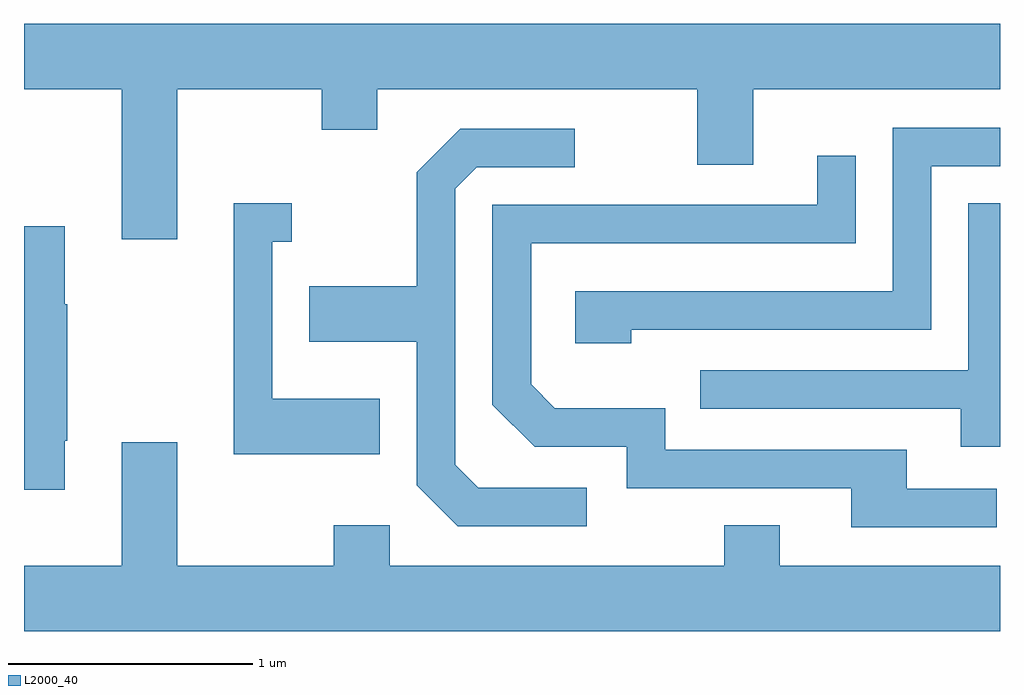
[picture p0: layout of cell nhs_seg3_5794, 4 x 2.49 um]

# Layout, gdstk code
import gdstk
lib = gdstk.Library(unit=1e-6, precision=1e-09)
def P(c, l, *ps):  # polygons
    for p in ps: c.add(gdstk.Polygon(p, *l))
L2000_40 = (2000, 40)

nhs_seg3_5794 = lib.new_cell('nhs_seg3_5794')
P(nhs_seg3_5794, L2000_40, [(356.239,1154.876),(356.831,1154.876),(356.831,1154.711),(357.059,1154.711),(357.059,1154.876),(358.371,1154.876),(358.371,1154.566),(358.599,1154.566),(358.599,1154.876),(359.611,1154.876),(359.611,1155.144),(355.611,1155.144),(355.611,1154.876),(356.011,1154.876),(356.011,1154.261),(356.239,1154.261)],
  [(358.099,1153.891),(359.329,1153.891),(359.329,1154.561),(359.611,1154.561),(359.611,1154.719),(359.171,1154.719),(359.171,1154.049),(357.871,1154.049),(357.871,1153.836),(358.099,1153.836)],
  [(357.918,1153.244),(357.472,1153.244),(357.379,1153.337),(357.379,1154.469),(357.467,1154.556),(357.868,1154.556),(357.868,1154.714),(357.399,1154.714),(357.221,1154.537),(357.221,1154.069),(356.781,1154.069),(356.781,1153.841),(357.221,1153.841),(357.221,1153.254),(357.389,1153.086),(357.918,1153.086)],
  [(359.598,1153.239),(359.229,1153.239),(359.229,1153.399),(358.239,1153.399),(358.239,1153.569),(357.787,1153.569),(357.689,1153.667),(357.689,1154.246),(359.019,1154.246),(359.019,1154.603),(358.861,1154.603),(358.861,1154.404),(357.531,1154.404),(357.531,1153.584),(357.704,1153.411),(358.081,1153.411),(358.081,1153.241),(359.001,1153.241),(359.001,1153.081),(359.598,1153.081)],
  [(359.611,1154.409),(359.481,1154.409),(359.481,1153.724),(358.383,1153.724),(358.383,1153.566),(359.451,1153.566),(359.451,1153.411),(359.611,1153.411)],
  [(357.069,1153.609),(356.629,1153.609),(356.629,1154.251),(356.708,1154.251),(356.708,1154.409),(356.471,1154.409),(356.471,1153.381),(357.069,1153.381)],
  [(355.779,1153.435),(355.789,1153.435),(355.789,1153.995),(355.779,1153.995),(355.779,1154.314),(355.611,1154.314),(355.611,1153.236),(355.779,1153.236)],
  [(359.611,1152.924),(358.709,1152.924),(358.709,1153.089),(358.481,1153.089),(358.481,1152.924),(357.109,1152.924),(357.109,1153.089),(356.881,1153.089),(356.881,1152.924),(356.239,1152.924),(356.239,1153.429),(356.011,1153.429),(356.011,1152.924),(355.611,1152.924),(355.611,1152.656),(359.611,1152.656)])

lib.write_gds('nhs_seg3_5794.gds')
